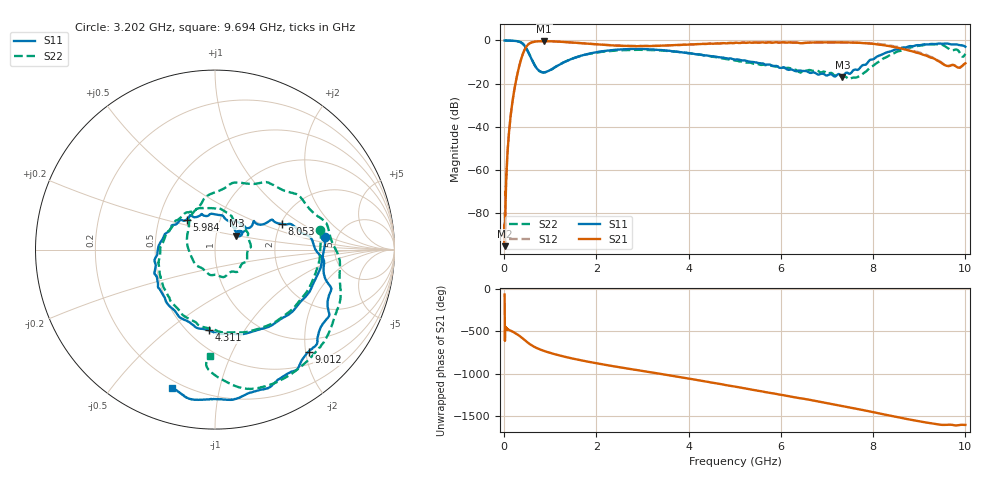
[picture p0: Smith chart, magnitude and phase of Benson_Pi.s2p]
!	Fieldfox Controller
!	Chapman University - Class ENG398
!	Introduction to RF - DMG (2024)
!Created with skrf (http://scikit-rf.org).
# Hz S RI R 50.0
!freq ReS11 ImS11 ReS21 ImS21 ReS12 ImS12 ReS22 ImS22
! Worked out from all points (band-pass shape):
!   8001 points, 10 MHz to 10 GHz, reference 50 ohm
!   highest |S21| = -0.39 dB at 867.9 MHz (marker M1); lowest = -95.4 dB at 16.24 MHz (marker M2)
!   |S21| within 3 dB of the highest: 467.2 MHz to 8.523 GHz (8.056 GHz wide, 179 % of centre)
!   lowest |S11| = -17.0 dB at 7.333 GHz (marker M3), VSWR 1.33, Z = 62.6 + j9.91 ohm
!   |S11| at or under -10 dB: 624 MHz to 1.314 GHz (690.3 MHz wide, 71.2 % of centre); 5.377053 GHz to 5.377376 GHz (322.9 kHz wide, 0.00601 % of centre); 5.379 GHz to 7.892 GHz (2.513 GHz wide, 37.9 % of centre)
!   |S22| runs from -18.0 to -0.1 dB; largest |S21 - S12| = 0.041
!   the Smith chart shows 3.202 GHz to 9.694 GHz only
!   S11 on the Smith chart (normalised r, x): 3.202 GHz: 3.97, +0.93; 4.311 GHz: 0.63, -0.71; 5.984 GHz: 0.69, +0.24; 8.053 GHz: 2.03, +0.69; 9.012 GHz: 0.73, -2.06; 9.694 GHz: 0.16, -0.72
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1e7  -0.9932 0.048  1.49e-05 -3.33e-05  3.97e-05 -3.62e-05  -0.9926 0.0477
1.624375e7  -0.9907 0.0771  -1.7e-05 6.88e-07  -5.79e-06 -0.000102  -0.9899 0.077
1.386212e8  -0.7783 0.5979  -0.011 -0.0128  -0.0111 -0.0128  -0.7791 0.5952
3.234362e8  0.1257 0.9282  -0.2404 0.0391  -0.2402 0.0403  0.1145 0.9269
4.370725e8  0.6477 0.4055  -0.3067 0.5005  -0.3054 0.4993  0.6346 0.4227
5.532062e8  0.4274 -0.1528  0.2758 0.808  0.275 0.8072  0.4354 -0.1334
8.678912e8  -0.0397 -0.1761  0.9385 -0.1825  0.9388 -0.183  -0.0291 -0.178
1.236272e9  -0.2704 -0.0963  0.3355 -0.8639  0.3341 -0.8653  -0.2654 -0.1112
1.675832e9  -0.3597 0.2573  -0.4561 -0.7279  -0.4587 -0.7274  -0.3803 0.223
2.340168e9  0.1201 0.5811  -0.7571 0.1089  -0.7616 0.1139  0.0584 0.5702
3.201805e9  0.6114 0.0729  -0.0748 0.7388  -0.0665 0.7418  0.5862 0.1085
3.340416e9  0.5979 -0.052  0.0839 0.7436  0.0916 0.7411  0.5866 -0.0128
4.310695e9  -0.0337 -0.4501  0.8256 -0.0772  0.8266 -0.0679  0.0166 -0.4547
5.005e9  -0.3247 -0.152  0.2893 -0.8237  0.295 -0.8306  -0.3019 -0.1595
5.98402e9  -0.1588 0.1668  -0.8582 -0.223  -0.8609 -0.217  -0.0672 0.2314
6.670832e9  0.0853 0.1557  -0.5546 0.6951  -0.5542 0.69  0.183 0.0795
7.33267e9  0.119 0.0775  0.4389 0.7802  0.4285 0.7861  0.0018 -0.1403
8.053199e9  0.3729 0.1428  0.7777 -0.253  0.8037 -0.2392  -0.0651 0.2773
8.335416e9  0.5385 0.058  0.479 -0.5654  0.5096 -0.5631  0.2409 0.3693
9.012239e9  0.5212 -0.5696  -0.2548 -0.4262  -0.2716 -0.446  0.6916 -0.3068
9.694056e9  -0.2383 -0.7702  -0.2491 -0.0899  -0.2497 -0.091  -0.0252 -0.5948
1e10  -0.5375 -0.4671  -0.2804 -0.087  -0.2767 -0.0901  0.0119 -0.4841
